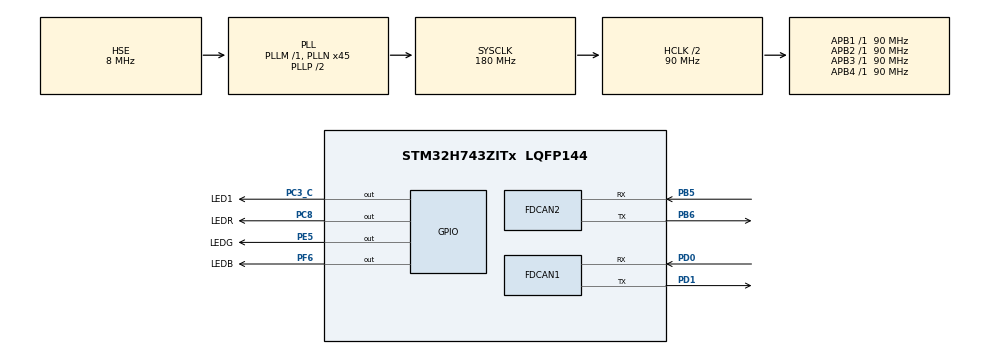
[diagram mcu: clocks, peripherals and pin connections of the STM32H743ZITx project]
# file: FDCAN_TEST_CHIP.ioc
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FDCAN1.CalculateBaudRateNominal=500000
FDCAN1.CalculateTimeBitNominal=2000
FDCAN1.CalculateTimeQuantumNominal=200.0
FDCAN1.ClockCalibrationCCU=DISABLE
FDCAN1.DataSyncJumpWidth=4
FDCAN1.Mode=FDCAN_MODE_NORMAL
FDCAN1.NominalPrescaler=9
FDCAN1.NominalSyncJumpWidth=4
FDCAN1.NominalTimeSeg1=4
FDCAN1.NominalTimeSeg2=5
FDCAN1.RxFifo0ElmtsNbr=1
FDCAN1.TxBuffersNbr=10
FDCAN1.TxFifoQueueElmtsNbr=10
FDCAN2.CalculateBaudRateNominal=500000
FDCAN2.CalculateTimeBitNominal=2000
FDCAN2.CalculateTimeQuantumNominal=200.0
FDCAN2.DataSyncJumpWidth=4
FDCAN2.NominalPrescaler=9
FDCAN2.NominalSyncJumpWidth=4
FDCAN2.NominalTimeSeg1=4
FDCAN2.NominalTimeSeg2=5
FDCAN2.RxFifo0ElmtsNbr=1
FDCAN2.RxFifo1ElmtsNbr=0
FDCAN2.StdFiltersNbr=0
FDCAN2.TxBuffersNbr=10
FDCAN2.TxFifoQueueElmtsNbr=10
Mcu.Family=STM32H7
Mcu.Name=STM32H743ZITx
Mcu.Package=LQFP144
NVIC.FDCAN1_IT0_IRQn=true\:0\:0\:false\:false\:true\:true\:true\:true
NVIC.FDCAN2_IT0_IRQn=true\:0\:0\:false\:false\:true\:true\:true\:true
NVIC.PriorityGroup=NVIC_PRIORITYGROUP_4
PB5.Mode=FDCAN_Activate
PB5.Signal=FDCAN2_RX
PB6.Mode=FDCAN_Activate
PB6.Signal=FDCAN2_TX
PC3_C.GPIO_Label=LED1
PC3_C.Signal=GPIO_Output
PC8.GPIO_Label=LEDR
PC8.Signal=GPIO_Output
PD0.Mode=FDCAN_Activate
PD0.Signal=FDCAN1_RX
PD1.Mode=FDCAN_Activate
PD1.Signal=FDCAN1_TX
PE5.GPIO_Label=LEDG
PE5.Signal=GPIO_Output
PF6.GPIO_Label=LEDB
PF6.Signal=GPIO_Output
PH0-OSC_IN\ (PH0).Mode=HSE-External-Clock-Source
PH0-OSC_IN\ (PH0).Signal=RCC_OSC_IN
ProjectManager.HeapSize=0x200
ProjectManager.StackSize=0x400
ProjectManager.TargetToolchain=STM32CubeIDE
RCC.ADCFreq_Value=16125000
RCC.APB1Freq_Value=90000000
RCC.APB2Freq_Value=90000000
RCC.APB3Freq_Value=90000000
RCC.APB4Freq_Value=90000000
RCC.CortexFreq_Value=180000000
RCC.DIVM1=1
RCC.DIVN1=45
RCC.DIVQ1=8
RCC.HCLKFreq_Value=90000000
RCC.HPRE=RCC_HCLK_DIV2
RCC.HSE_VALUE=8000000
RCC.PLL2FRACN=0
RCC.PLL3FRACN=0
RCC.PLLFRACN=0
RCC.PLLSourceVirtual=RCC_PLLSOURCE_HSE
RCC.SYSCLKFreq_VALUE=180000000
RCC.SYSCLKSource=RCC_SYSCLKSOURCE_PLLCLK
RCC.USBFreq_Value=45000000
board=custom

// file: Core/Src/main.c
/* USER CODE BEGIN Header */
/**
  ******************************************************************************
  * @file           : main.c
  * @brief          : Main program body
  ******************************************************************************
  * @attention
  *
  * Copyright (c) 2023 STMicroelectronics.
  * All rights reserved.
  *
  * This software is licensed under terms that can be found in the LICENSE file
  * in the root directory of this software component.
  * If no LICENSE file comes with this software, it is provided AS-IS.
  *
  ******************************************************************************
  */
/* USER CODE END Header */
#include "main.h"

FDCAN_HandleTypeDef hfdcan1;
FDCAN_HandleTypeDef hfdcan2;

void SystemClock_Config(void);
static void MX_GPIO_Init(void);
static void MX_FDCAN1_Init(void);
static void MX_FDCAN2_Init(void);
/* USER CODE BEGIN PFP */
void can1_transmit(uint8_t, uint8_t*, FDCAN_HandleTypeDef*);
void can2_transmit(uint8_t, uint8_t*, FDCAN_HandleTypeDef*);
/* USER CODE END PFP */

int main(void)
{

  /* MCU Configuration--------------------------------------------------------*/

  /* Reset of all peripherals, Initializes the Flash interface and the Systick. */
  HAL_Init();

  /* Configure the system clock */
  SystemClock_Config();

  /* Initialize all configured peripherals */
  MX_GPIO_Init();
  MX_FDCAN1_Init();
  MX_FDCAN2_Init();
  /* USER CODE BEGIN 2 */
	//FDCAN1
	  FDCAN_FilterTypeDef  sFilterConfig;
	  sFilterConfig.IdType = FDCAN_STANDARD_ID;
	  sFilterConfig.FilterIndex = 0;
	  sFilterConfig.FilterType = FDCAN_FILTER_MASK;
	  sFilterConfig.FilterConfig = FDCAN_FILTER_TO_RXFIFO0;
	  sFilterConfig.FilterID1 = 0x000;
	  sFilterConfig.FilterID2 = 0x000;

	  HAL_FDCAN_ConfigFilter(&hfdcan1, &sFilterConfig);
	  HAL_FDCAN_Init(&hfdcan1);
	  HAL_FDCAN_Start(&hfdcan1);
	  HAL_FDCAN_ActivateNotification(&hfdcan1, FDCAN_IT_RX_FIFO0_NEW_MESSAGE, 0);
  //FDCAN2
	  FDCAN_FilterTypeDef  sFilterConfig2;
	  sFilterConfig2.IdType = FDCAN_STANDARD_ID;
	  sFilterConfig2.FilterIndex = 0;
	  sFilterConfig2.FilterType = FDCAN_FILTER_MASK;
	  sFilterConfig2.FilterConfig = FDCAN_FILTER_TO_RXFIFO0;
	  sFilterConfig2.FilterID1 = 0x000;
	  sFilterConfig2.FilterID2 = 0x000;

	  HAL_FDCAN_ConfigFilter(&hfdcan2, &sFilterConfig2);
	  HAL_FDCAN_Init(&hfdcan2);
	  HAL_FDCAN_Start(&hfdcan2);
	  HAL_FDCAN_ActivateNotification(&hfdcan2, FDCAN_IT_RX_FIFO0_NEW_MESSAGE, 0);
int counter = 0;
  /* USER CODE END 2 */

  /* Infinite loop */
  /* USER CODE BEGIN WHILE */
  while (1)
  {
	  	uint8_t data[8] = {1};
		uint32_t free_level = HAL_FDCAN_GetTxFifoFreeLevel(&hfdcan1);
		while(HAL_FDCAN_GetTxFifoFreeLevel(&hfdcan1) < 1){
			;;
		}
//		can2_transmit(0x001, data, &hfdcan2);
	  	can1_transmit(0x001, data, &hfdcan1);
		HAL_Delay(100);
		HAL_GPIO_TogglePin(LEDR_GPIO_Port, LEDR_Pin);
		counter++;
    /* USER CODE END WHILE */

  }
}

void SystemClock_Config(void)
{
  RCC_OscInitTypeDef RCC_OscInitStruct = {0};
  RCC_ClkInitTypeDef RCC_ClkInitStruct = {0};

  /** Supply configuration update enable
  */
  HAL_PWREx_ConfigSupply(PWR_LDO_SUPPLY);

  /** Configure the main internal regulator output voltage
  */
  __HAL_PWR_VOLTAGESCALING_CONFIG(PWR_REGULATOR_VOLTAGE_SCALE3);

  while(!__HAL_PWR_GET_FLAG(PWR_FLAG_VOSRDY)) {}

  /** Initializes the RCC Oscillators according to the specified parameters
  * in the RCC_OscInitTypeDef structure.
  */
  RCC_OscInitStruct.OscillatorType = RCC_OSCILLATORTYPE_HSE;
  RCC_OscInitStruct.HSEState = RCC_HSE_BYPASS;
  RCC_OscInitStruct.PLL.PLLState = RCC_PLL_ON;
  RCC_OscInitStruct.PLL.PLLSource = RCC_PLLSOURCE_HSE;
  RCC_OscInitStruct.PLL.PLLM = 1;
  RCC_OscInitStruct.PLL.PLLN = 45;
  RCC_OscInitStruct.PLL.PLLP = 2;
  RCC_OscInitStruct.PLL.PLLQ = 8;
  RCC_OscInitStruct.PLL.PLLR = 2;
  RCC_OscInitStruct.PLL.PLLRGE = RCC_PLL1VCIRANGE_3;
  RCC_OscInitStruct.PLL.PLLVCOSEL = RCC_PLL1VCOWIDE;
  RCC_OscInitStruct.PLL.PLLFRACN = 0;
  if (HAL_RCC_OscConfig(&RCC_OscInitStruct) != HAL_OK)
  {
    Error_Handler();
  }

  /** Initializes the CPU, AHB and APB buses clocks
  */
  RCC_ClkInitStruct.ClockType = RCC_CLOCKTYPE_HCLK|RCC_CLOCKTYPE_SYSCLK
                              |RCC_CLOCKTYPE_PCLK1|RCC_CLOCKTYPE_PCLK2
                              |RCC_CLOCKTYPE_D3PCLK1|RCC_CLOCKTYPE_D1PCLK1;
  RCC_ClkInitStruct.SYSCLKSource = RCC_SYSCLKSOURCE_PLLCLK;
  RCC_ClkInitStruct.SYSCLKDivider = RCC_SYSCLK_DIV1;
  RCC_ClkInitStruct.AHBCLKDivider = RCC_HCLK_DIV2;
  RCC_ClkInitStruct.APB3CLKDivider = RCC_APB3_DIV1;
  RCC_ClkInitStruct.APB1CLKDivider = RCC_APB1_DIV1;
  RCC_ClkInitStruct.APB2CLKDivider = RCC_APB2_DIV1;
  RCC_ClkInitStruct.APB4CLKDivider = RCC_APB4_DIV1;

  if (HAL_RCC_ClockConfig(&RCC_ClkInitStruct, FLASH_LATENCY_1) != HAL_OK)
  {
    Error_Handler();
  }
}

static void MX_FDCAN1_Init(void)
{

  hfdcan1.Instance = FDCAN1;
  hfdcan1.Init.FrameFormat = FDCAN_FRAME_CLASSIC;
  hfdcan1.Init.Mode = FDCAN_MODE_NORMAL;
  hfdcan1.Init.AutoRetransmission = DISABLE;
  hfdcan1.Init.TransmitPause = DISABLE;
  hfdcan1.Init.ProtocolException = DISABLE;
  hfdcan1.Init.NominalPrescaler = 9;
  hfdcan1.Init.NominalSyncJumpWidth = 4;
  hfdcan1.Init.NominalTimeSeg1 = 4;
  hfdcan1.Init.NominalTimeSeg2 = 5;
  hfdcan1.Init.DataPrescaler = 1;
  hfdcan1.Init.DataSyncJumpWidth = 4;
  hfdcan1.Init.DataTimeSeg1 = 1;
  hfdcan1.Init.DataTimeSeg2 = 1;
  hfdcan1.Init.MessageRAMOffset = 0;
  hfdcan1.Init.StdFiltersNbr = 0;
  hfdcan1.Init.ExtFiltersNbr = 0;
  hfdcan1.Init.RxFifo0ElmtsNbr = 1;
  hfdcan1.Init.RxFifo0ElmtSize = FDCAN_DATA_BYTES_8;
  hfdcan1.Init.RxFifo1ElmtsNbr = 0;
  hfdcan1.Init.RxFifo1ElmtSize = FDCAN_DATA_BYTES_8;
  hfdcan1.Init.RxBuffersNbr = 0;
  hfdcan1.Init.RxBufferSize = FDCAN_DATA_BYTES_8;
  hfdcan1.Init.TxEventsNbr = 0;
  hfdcan1.Init.TxBuffersNbr = 10;
  hfdcan1.Init.TxFifoQueueElmtsNbr = 10;
  hfdcan1.Init.TxFifoQueueMode = FDCAN_TX_FIFO_OPERATION;
  hfdcan1.Init.TxElmtSize = FDCAN_DATA_BYTES_8;
  if (HAL_FDCAN_Init(&hfdcan1) != HAL_OK)
  {
    Error_Handler();
  }

}

static void MX_FDCAN2_Init(void)
{

  hfdcan2.Instance = FDCAN2;
  hfdcan2.Init.FrameFormat = FDCAN_FRAME_CLASSIC;
  hfdcan2.Init.Mode = FDCAN_MODE_NORMAL;
  hfdcan2.Init.AutoRetransmission = DISABLE;
  hfdcan2.Init.TransmitPause = DISABLE;
  hfdcan2.Init.ProtocolException = DISABLE;
  hfdcan2.Init.NominalPrescaler = 9;
  hfdcan2.Init.NominalSyncJumpWidth = 4;
  hfdcan2.Init.NominalTimeSeg1 = 4;
  hfdcan2.Init.NominalTimeSeg2 = 5;
  hfdcan2.Init.DataPrescaler = 1;
  hfdcan2.Init.DataSyncJumpWidth = 4;
  hfdcan2.Init.DataTimeSeg1 = 1;
  hfdcan2.Init.DataTimeSeg2 = 1;
  hfdcan2.Init.MessageRAMOffset = 0;
  hfdcan2.Init.StdFiltersNbr = 0;
  hfdcan2.Init.ExtFiltersNbr = 0;
  hfdcan2.Init.RxFifo0ElmtsNbr = 1;
  hfdcan2.Init.RxFifo0ElmtSize = FDCAN_DATA_BYTES_8;
  hfdcan2.Init.RxFifo1ElmtsNbr = 0;
  hfdcan2.Init.RxFifo1ElmtSize = FDCAN_DATA_BYTES_8;
  hfdcan2.Init.RxBuffersNbr = 0;
  hfdcan2.Init.RxBufferSize = FDCAN_DATA_BYTES_8;
  hfdcan2.Init.TxEventsNbr = 0;
  hfdcan2.Init.TxBuffersNbr = 10;
  hfdcan2.Init.TxFifoQueueElmtsNbr = 10;
  hfdcan2.Init.TxFifoQueueMode = FDCAN_TX_FIFO_OPERATION;
  hfdcan2.Init.TxElmtSize = FDCAN_DATA_BYTES_8;
  if (HAL_FDCAN_Init(&hfdcan2) != HAL_OK)
  {
    Error_Handler();
  }

}

static void MX_GPIO_Init(void)
{
  GPIO_InitTypeDef GPIO_InitStruct = {0};

  /* GPIO Ports Clock Enable */
  __HAL_RCC_GPIOE_CLK_ENABLE();
  __HAL_RCC_GPIOF_CLK_ENABLE();
  __HAL_RCC_GPIOH_CLK_ENABLE();
  __HAL_RCC_GPIOC_CLK_ENABLE();
  __HAL_RCC_GPIOD_CLK_ENABLE();
  __HAL_RCC_GPIOB_CLK_ENABLE();

  /*Configure GPIO pin Output Level */
  HAL_GPIO_WritePin(LEDG_GPIO_Port, LEDG_Pin, GPIO_PIN_RESET);

  /*Configure GPIO pin Output Level */
  HAL_GPIO_WritePin(LEDB_GPIO_Port, LEDB_Pin, GPIO_PIN_RESET);

  /*Configure GPIO pin Output Level */
  HAL_GPIO_WritePin(GPIOC, LED1_Pin|LEDR_Pin, GPIO_PIN_RESET);

  /*Configure GPIO pin : LEDG_Pin */
  GPIO_InitStruct.Pin = LEDG_Pin;
  GPIO_InitStruct.Mode = GPIO_MODE_OUTPUT_PP;
  GPIO_InitStruct.Pull = GPIO_NOPULL;
  GPIO_InitStruct.Speed = GPIO_SPEED_FREQ_LOW;
  HAL_GPIO_Init(LEDG_GPIO_Port, &GPIO_InitStruct);

  /*Configure GPIO pin : LEDB_Pin */
  GPIO_InitStruct.Pin = LEDB_Pin;
  GPIO_InitStruct.Mode = GPIO_MODE_OUTPUT_PP;
  GPIO_InitStruct.Pull = GPIO_NOPULL;
  GPIO_InitStruct.Speed = GPIO_SPEED_FREQ_LOW;
  HAL_GPIO_Init(LEDB_GPIO_Port, &GPIO_InitStruct);

  /*Configure GPIO pins : LED1_Pin LEDR_Pin */
  GPIO_InitStruct.Pin = LED1_Pin|LEDR_Pin;
  GPIO_InitStruct.Mode = GPIO_MODE_OUTPUT_PP;
  GPIO_InitStruct.Pull = GPIO_NOPULL;
  GPIO_InitStruct.Speed = GPIO_SPEED_FREQ_LOW;
  HAL_GPIO_Init(GPIOC, &GPIO_InitStruct);

}

/* USER CODE BEGIN 4 */
uint8_t can1_rx_data[8];
uint8_t can1_rx_id;
uint32_t TxMailbox;
//CAN1受信割り込み
void HAL_FDCAN_RxFifo0Callback(FDCAN_HandleTypeDef *hfdcan, uint32_t RxFifo0ITs){
	uint8_t RxData[8];
	FDCAN_RxHeaderTypeDef RxHeader;
	if (hfdcan->Instance == hfdcan1.Instance) {
		  if((RxFifo0ITs & FDCAN_IT_RX_FIFO0_NEW_MESSAGE) != RESET){
			 if (HAL_FDCAN_GetRxMessage(hfdcan, FDCAN_RX_FIFO0, &RxHeader, RxData) != HAL_OK){Error_Handler();}
			 if(RxData[0] == 1){
//				 HAL_GPIO_TogglePin(LED1_GPIO_Port, LED1_Pin);
			 }
		  }
	}else if (hfdcan->Instance == hfdcan2.Instance) {
	  if((RxFifo0ITs & FDCAN_IT_RX_FIFO0_NEW_MESSAGE) != RESET){
		 if (HAL_FDCAN_GetRxMessage(hfdcan, FDCAN_RX_FIFO0, &RxHeader, RxData) != HAL_OK){Error_Handler();}
		 if(RxData[0] == 1){
			 HAL_GPIO_TogglePin(LED1_GPIO_Port, LED1_Pin);
		 }
	  }
	}
}

void can1_transmit(uint8_t can1_tx_id, uint8_t* can1_tx_data, FDCAN_HandleTypeDef* can1_handle){
	FDCAN_TxHeaderTypeDef TxHeader;
	TxHeader.Identifier =can1_tx_id;
	TxHeader.IdType = FDCAN_STANDARD_ID;
	TxHeader.TxFrameType = FDCAN_DATA_FRAME;
	TxHeader.DataLength = FDCAN_DLC_BYTES_8;
	TxHeader.ErrorStateIndicator = FDCAN_ESI_ACTIVE;
	TxHeader.BitRateSwitch = FDCAN_BRS_OFF;
	TxHeader.FDFormat = FDCAN_CLASSIC_CAN;
	TxHeader.TxEventFifoControl = FDCAN_NO_TX_EVENTS;
	TxHeader.MessageMarker = 0;

	if (HAL_FDCAN_AddMessageToTxFifoQ(can1_handle, &TxHeader, can1_tx_data) != HAL_OK)
		{
			Error_Handler();
		}
}

void can2_transmit(uint8_t can2_tx_id, uint8_t* can2_tx_data, FDCAN_HandleTypeDef* can2_handle){
	FDCAN_TxHeaderTypeDef TxHeader2;
	TxHeader2.Identifier =can2_tx_id;
	TxHeader2.IdType = FDCAN_STANDARD_ID;
	TxHeader2.TxFrameType = FDCAN_DATA_FRAME;
	TxHeader2.DataLength = FDCAN_DLC_BYTES_8;
	TxHeader2.ErrorStateIndicator = FDCAN_ESI_ACTIVE;
	TxHeader2.BitRateSwitch = FDCAN_BRS_OFF;
	TxHeader2.FDFormat = FDCAN_CLASSIC_CAN;
	TxHeader2.TxEventFifoControl = FDCAN_NO_TX_EVENTS;
	TxHeader2.MessageMarker = 0;

	if (HAL_FDCAN_AddMessageToTxFifoQ(can2_handle, &TxHeader2, can2_tx_data) != HAL_OK)
		{
			Error_Handler();
		}
}
/* USER CODE END 4 */

void Error_Handler(void)
{
  /* USER CODE BEGIN Error_Handler_Debug */
  /* User can add his own implementation to report the HAL error return state */
  __disable_irq();
  while (1)
  {
	  HAL_GPIO_WritePin(LED1_GPIO_Port, LED1_Pin, GPIO_PIN_SET);
  }
  /* USER CODE END Error_Handler_Debug */
}
